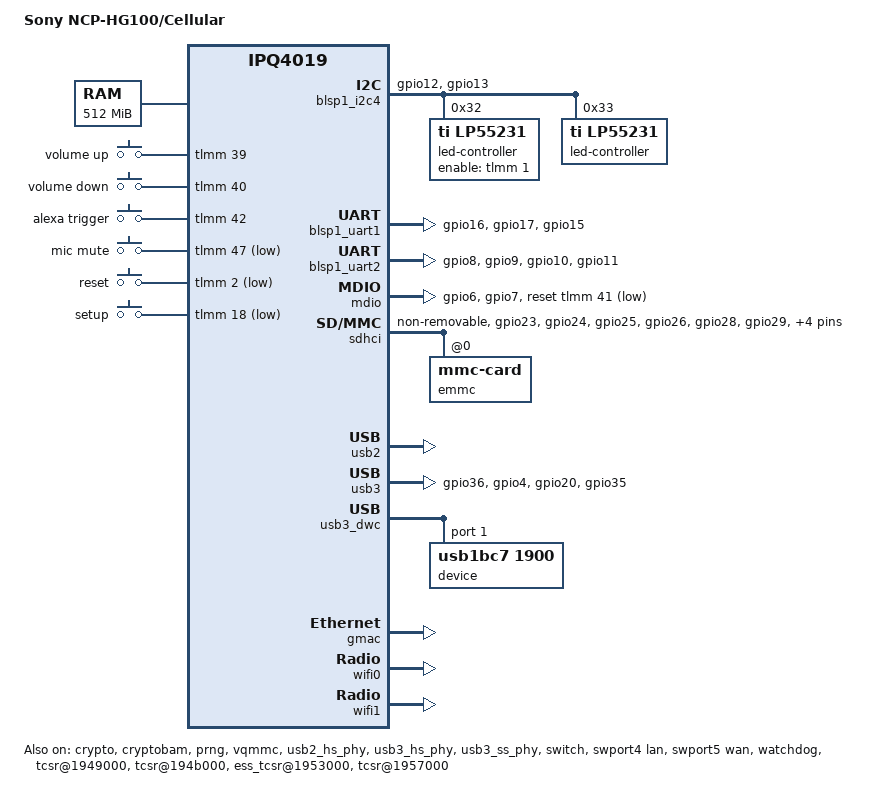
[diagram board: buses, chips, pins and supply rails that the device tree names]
// SPDX-License-Identifier: GPL-2.0-only OR MIT

#include "qcom-ipq4019.dtsi"

#include <dt-bindings/gpio/gpio.h>
#include <dt-bindings/input/input.h>
#include <dt-bindings/leds/common.h>
#include <dt-bindings/soc/qcom,tcsr.h>

/ {
	model = "Sony NCP-HG100/Cellular";
	compatible = "sony,ncp-hg100-cellular";

	aliases {
		// TODO: Verify if the ethernet0 alias is needed
		ethernet0 = &gmac;
		led-boot = &led_cloud_green;
		led-failsafe = &led_cloud_red;
		led-running = &led_cloud_green;
		led-upgrade = &led_cloud_green;
		label-mac-device = &gmac;
	};

	chosen {
		bootargs = "console=ttyMSM0,115200n8 root=/dev/mmcblk0p15 rootfstype=squashfs,ext4";
	};

	memory {
		device_type = "memory";
		reg = <0x80000000 0x20000000>;
	};

	soc {
		tcsr@1949000 {
			status = "okay";
			compatible = "qcom,tcsr";
			reg = <0x1949000 0x100>;
			qcom,wifi_glb_cfg = <TCSR_WIFI_GLB_CFG>;
		};

		tcsr@194b000 {
			status = "okay";
			compatible = "qcom,tcsr";
			reg = <0x194b000 0x100>;
			qcom,usb-hsphy-mode-select = <TCSR_USB_HSPHY_HOST_MODE>;
		};

		ess_tcsr@1953000 {
			status = "okay";
			compatible = "qcom,tcsr";
			reg = <0x1953000 0x1000>;
			qcom,ess-interface-select = <TCSR_ESS_PSGMII>;
		};

		tcsr@1957000 {
			status = "okay";
			compatible = "qcom,tcsr";
			reg = <0x1957000 0x100>;
			qcom,wifi_noc_memtype_m0_m2 = <TCSR_WIFI_NOC_MEMTYPE_M0_M2>;
		};
	};

	keys-repeat {
		compatible = "gpio-keys";
		pinctrl-0 = <&keys_pins>;
		pinctrl-names = "default";
		autorepeat;

		key-volup {
			label = "volume up";
			linux,code = <KEY_VOLUMEUP>;
			gpios = <&tlmm 39 GPIO_ACTIVE_HIGH>;
			linux,input-type = <EV_KEY>;
		};

		key-voldown {
			label = "volume down";
			linux,code = <KEY_VOLUMEDOWN>;
			gpios = <&tlmm 40 GPIO_ACTIVE_HIGH>;
			linux,input-type = <EV_KEY>;
		};

		key-alexatrigger {
			label = "alexa trigger";
			linux,code = <BTN_0>;
			gpios = <&tlmm 42 GPIO_ACTIVE_HIGH>;
			linux,input-type = <EV_KEY>;
		};

		key-mute {
			label = "mic mute";
			linux,code = <BTN_1>;
			gpios = <&tlmm 47 GPIO_ACTIVE_LOW>;
			linux,input-type = <EV_SW>;
		};
	};

	keys {
		compatible = "gpio-keys";

		key-reset {
			label = "reset";
			gpios = <&tlmm 2 GPIO_ACTIVE_LOW>;
			linux,code = <KEY_RESTART>;
		};

		key-wps {
			label = "setup";
			gpios = <&tlmm 18 GPIO_ACTIVE_LOW>;
			linux,code = <KEY_WPS_BUTTON>;
		};
	};
};

&tlmm {
	pinctrl-0 = <&bt_pins>, <&aud_pins>, <&mcu_pins>;
	pinctrl-names = "default";

	/*
	 * uart0 is shared for debug console and Z-Wave,
	 * use only for debug console in OpenWrt.
	 *
	 * 1: debug console
	 * 0: Z-Wave
	 */
	uart0_ctrl_pins: uart0_ctrl_pinmux {
		mux {
			pins = "gpio15";
			function = "gpio";
			output-high;
		};
	};

	serial_pins: serial_pinmux {
		mux {
			pins = "gpio16", "gpio17";
			function = "blsp_uart0";
			bias-disable;
		};
	};

	/*
	 * reset pin for Z-Wave
	 * active-low, >= 20ns
	 */
	zwave_pins: zwave_pinmux {
		mux {
			pins = "gpio59";
			function = "gpio";
			output-high;
		};
	};

	serial_1_pins: serial1_pinmux {
		mux {
			pins = "gpio8", "gpio9",
				"gpio10", "gpio11";
			function = "blsp_uart1";
			bias-disable;
		};
	};

	bt_pins: bt_pinmux {
		mux_reset {
			pins = "gpio66";
			function = "gpio";
			output-high;
		};

		mux_pwr {
			pins = "gpio68";
			function = "gpio";
			output-high;
		};
	};

	mdio_pins: mdio_pinmux {
		mux_1 {
			pins = "gpio6";
			function = "mdio";
			bias-pull-up;
		};

		mux_2 {
			pins = "gpio7";
			function = "mdc";
			bias-pull-up;
		};
	};

	i2c_1_pins: i2c_1_pinmux {
		mux {
			pins = "gpio12", "gpio13";
			function = "blsp_i2c1";
			bias-disable;
		};
	};

	keys_pins: keys_pinmux {
		mux_1 {
			pins = "gpio39", "gpio40", "gpio42", "gpio47";
			function = "gpio";
			bias-disable;
		};

		mux_2 {
			pins = "gpio2";
			function = "gpio";
			input;
		};
	};

	sd_pins: sd_pins {
		mux {
			function = "sdio";
			pins = "gpio23", "gpio24", "gpio25", "gpio26",
				"gpio28", "gpio29", "gpio30", "gpio31";
			drive-strength = <4>;
		};

		mux_sd_clk {
			function = "sdio";
			pins = "gpio27";
			drive-strength = <16>;
		};

		mux_sd7 {
			function = "sdio";
			pins = "gpio32";
			drive-strength = <4>;
			bias-disable;
		};
	};

	aud_pins: aud_pinmux {
		mux {
			pins = "gpio48", "gpio49", "gpio50", "gpio51";
			function = "aud_pin";
		};
	};

	alc1304_pins: alc1304_pinmux {
		mux_1 {
			pins = "gpio44";
			function = "gpio";
			bias-disable;
		};

		mux_2 {
			pins = "gpio45";
			function = "gpio";
			bias-disable;
		};
	};

	cx2902x_reset: cx2902x_pinmux {
		mux_1 {
			pins = "gpio64";
			function = "gpio";
			bias-disable;
		};

		mux_2 {
			pins = "gpio65";
			function = "gpio";
			bias-disable;
		};
	};

	lte_pins: lte_pinmux {
		mux_en {
			pins = "gpio20";
			function = "gpio";
			output-high;
		};

		mux_reset {
			pins = "gpio35";
			function = "gpio";
			input;
		};
	};

	usb3_pins: usb3_pinmux {
		mux_en {
			pins = "gpio36";
			function = "gpio";
			output-high;
		};

		mux_flt {
			pins = "gpio4";
			function = "gpio";
			input;
		};
	};

	mcu_pins: mcu_pinmux {
		mux_boot {
			pins = "gpio38";
			function = "gpio";
			output-low;
		};

		mux_reset {
			pins = "gpio5";
			function = "gpio";
			output-high;
		};
	};
};

&blsp_dma {
	status = "okay";
};

&blsp1_i2c4 {
	/*
	 * There is no driver for the following devices:
	 * - CY8C4014LQI@14	: Touch-Sensor for buttons on top
	 * - MINI54FDE@15	: MCU for Fan/RGB LED/Thermal control
	 * - ALC5629@18		: I2S/PCM Audio DAC
	 * - CX20924@41		: Voice Input Processor
	 */
	pinctrl-0 = <&i2c_1_pins>;
	pinctrl-names = "default";
	status = "okay";

	led-controller@32 {
		compatible = "ti,lp55231";
		reg = <0x32>;
		clock-mode = /bits/ 8 <0>;
		enable-gpio = <&tlmm 1 GPIO_ACTIVE_HIGH>;
		#address-cells = <1>;
		#size-cells = <0>;

		led@0 {
			chan-name = "green:wan";
			led-cur = /bits/ 8 <50>;
			max-cur = /bits/ 8 <100>;
			reg = <0x0>;
			color = <LED_COLOR_ID_GREEN>;
			function = LED_FUNCTION_WAN;
		};

		led@1 {
			chan-name = "blue:wan";
			led-cur = /bits/ 8 <50>;
			max-cur = /bits/ 8 <100>;
			reg = <0x1>;
			color = <LED_COLOR_ID_BLUE>;
			function = LED_FUNCTION_WAN;
		};

		led@2 {
			chan-name = "green:lan";
			led-cur = /bits/ 8 <50>;
			max-cur = /bits/ 8 <100>;
			reg = <0x2>;
			color = <LED_COLOR_ID_GREEN>;
			function = LED_FUNCTION_LAN;
		};

		led@3 {
			chan-name = "blue:lan";
			led-cur = /bits/ 8 <50>;
			max-cur = /bits/ 8 <100>;
			reg = <0x3>;
			color = <LED_COLOR_ID_BLUE>;
			function = LED_FUNCTION_LAN;
		};

		led@4 {
			chan-name = "green:wlan-2";
			led-cur = /bits/ 8 <50>;
			max-cur = /bits/ 8 <100>;
			reg = <0x4>;
			color = <LED_COLOR_ID_GREEN>;
			function = LED_FUNCTION_WLAN;
			function-enumerator = <2>;
			linux,default-trigger = "phy0tpt";
		};

		led@5 {
			chan-name = "blue:wlan-2";
			led-cur = /bits/ 8 <50>;
			max-cur = /bits/ 8 <100>;
			reg = <0x5>;
			color = <LED_COLOR_ID_BLUE>;
			function = LED_FUNCTION_WLAN;
			function-enumerator = <2>;
		};

		led@6 {
			chan-name = "red:wan";
			led-cur = /bits/ 8 <50>;
			max-cur = /bits/ 8 <100>;
			reg = <0x6>;
			color = <LED_COLOR_ID_RED>;
			function = LED_FUNCTION_WAN;
		};

		led@7 {
			chan-name = "red:lan";
			led-cur = /bits/ 8 <50>;
			max-cur = /bits/ 8 <100>;
			reg = <0x7>;
			color = <LED_COLOR_ID_RED>;
			function = LED_FUNCTION_LAN;
		};

		led@8 {
			chan-name = "red:wlan-2";
			led-cur = /bits/ 8 <50>;
			max-cur = /bits/ 8 <100>;
			reg = <0x8>;
			color = <LED_COLOR_ID_RED>;
			function = LED_FUNCTION_WLAN;
			function-enumerator = <2>;
		};
	};

	led-controller@33 {
		compatible = "ti,lp55231";
		reg = <0x33>;
		clock-mode = /bits/ 8 <0>;
		#address-cells = <1>;
		#size-cells = <0>;

		led@0 {
			chan-name = "green:wlan-5";
			led-cur = /bits/ 8 <50>;
			max-cur = /bits/ 8 <100>;
			reg = <0x0>;
			color = <LED_COLOR_ID_GREEN>;
			function = LED_FUNCTION_WLAN;
			linux,default-trigger = "phy1tpt";
			function-enumerator = <5>;
		};

		led@1 {
			chan-name = "blue:wlan-5";
			led-cur = /bits/ 8 <50>;
			max-cur = /bits/ 8 <100>;
			reg = <0x1>;
			color = <LED_COLOR_ID_BLUE>;
			function = LED_FUNCTION_WLAN;
			function-enumerator = <5>;
		};

		led@2 {
			chan-name = "green:wan-4";
			led-cur = /bits/ 8 <50>;
			max-cur = /bits/ 8 <100>;
			reg = <0x2>;
			color = <LED_COLOR_ID_GREEN>;
			function = LED_FUNCTION_WAN; /* WWAN/LTE/4G */
			function-enumerator = <4>; /* WWAN/LTE/4G */
		};

		led@3 {
			chan-name = "blue:wan-4";
			led-cur = /bits/ 8 <50>;
			max-cur = /bits/ 8 <100>;
			reg = <0x3>;
			color = <LED_COLOR_ID_BLUE>;
			function = LED_FUNCTION_WAN; /* WWAN/LTE/4G */
			function-enumerator = <4>; /* WWAN/LTE/4G */
		};

		led_cloud_green: led@4 {
			chan-name = "green:power";
			led-cur = /bits/ 8 <50>;
			max-cur = /bits/ 8 <100>;
			reg = <0x4>;
			color = <LED_COLOR_ID_GREEN>;
			function = LED_FUNCTION_POWER;
		};

		led@5 {
			chan-name = "blue:power";
			led-cur = /bits/ 8 <50>;
			max-cur = /bits/ 8 <100>;
			reg = <0x5>;
			color = <LED_COLOR_ID_BLUE>;
			function = LED_FUNCTION_POWER;
		};

		led@6 {
			chan-name = "red:wlan-5";
			led-cur = /bits/ 8 <50>;
			max-cur = /bits/ 8 <100>;
			reg = <0x6>;
			color = <LED_COLOR_ID_RED>;
			function = LED_FUNCTION_WLAN;
			function-enumerator = <5>;
		};

		led@7 {
			chan-name = "red:wan-4";
			led-cur = /bits/ 8 <50>;
			max-cur = /bits/ 8 <100>;
			reg = <0x7>;
			color = <LED_COLOR_ID_RED>;
			function = LED_FUNCTION_WAN; /* WWAN/LTE/4G */
			function-enumerator = <4>; /* WWAN/LTE/4G */
		};

		led_cloud_red: led@8 {
			chan-name = "red:power";
			led-cur = /bits/ 8 <50>;
			max-cur = /bits/ 8 <100>;
			reg = <0x8>;
			color = <LED_COLOR_ID_RED>;
			function = LED_FUNCTION_POWER;
		};
	};
};

&blsp1_uart1 {
	pinctrl-0 = <&serial_pins>, <&uart0_ctrl_pins>;
	pinctrl-names = "default";
	status = "okay";
};

&blsp1_uart2 {
	pinctrl-0 = <&serial_1_pins>;
	pinctrl-names = "default";
	status = "okay";
};

&crypto {
	status = "okay";
};

&cryptobam {
	status = "okay";
};

&mdio {
	status = "okay";
	pinctrl-0 = <&mdio_pins>;
	pinctrl-names = "default";
	reset-gpios = <&tlmm 41 GPIO_ACTIVE_LOW>;
};

&prng {
	status = "okay";
};

&vqmmc {
	status = "okay";
};

&sdhci {
	status = "okay";
	pinctrl-0 = <&sd_pins>;
	pinctrl-names = "default";
	vqmmc-supply = <&vqmmc>;
	non-removable;
	#address-cells = <1>;
	#size-cells = <0>;

	emmc@0 {
		compatible = "mmc-card";
		reg = <0>;
	};
};

&usb2 {
	status = "okay";
};

&usb2_hs_phy {
	status = "okay";
};

&usb3 {
	status = "okay";

	pinctrl-0 = <&usb3_pins>, <&lte_pins>;
	pinctrl-names = "default";
};

&usb3_dwc {
	#address-cells = <1>;
	#size-cells = <0>;

	device@1 {
		compatible = "usb1bc7,1900";
		reg = <1>;
	};
};

&usb3_hs_phy {
	status = "okay";
};

&usb3_ss_phy {
	status = "okay";
};

&gmac {
	status = "okay";
};

&switch {
	status = "okay";
};

&swport4 {
	status = "okay";
	label = "lan";
};

&swport5 {
	status = "okay";
	label = "wan";
};

&wifi0 {
	status = "okay";
	qcom,ath10k-calibration-variant = "Sony-NCP-HG100-Cellular";
};

&wifi1 {
	status = "okay";
	qcom,ath10k-calibration-variant = "Sony-NCP-HG100-Cellular";
};

&watchdog {
	status = "okay";
};
